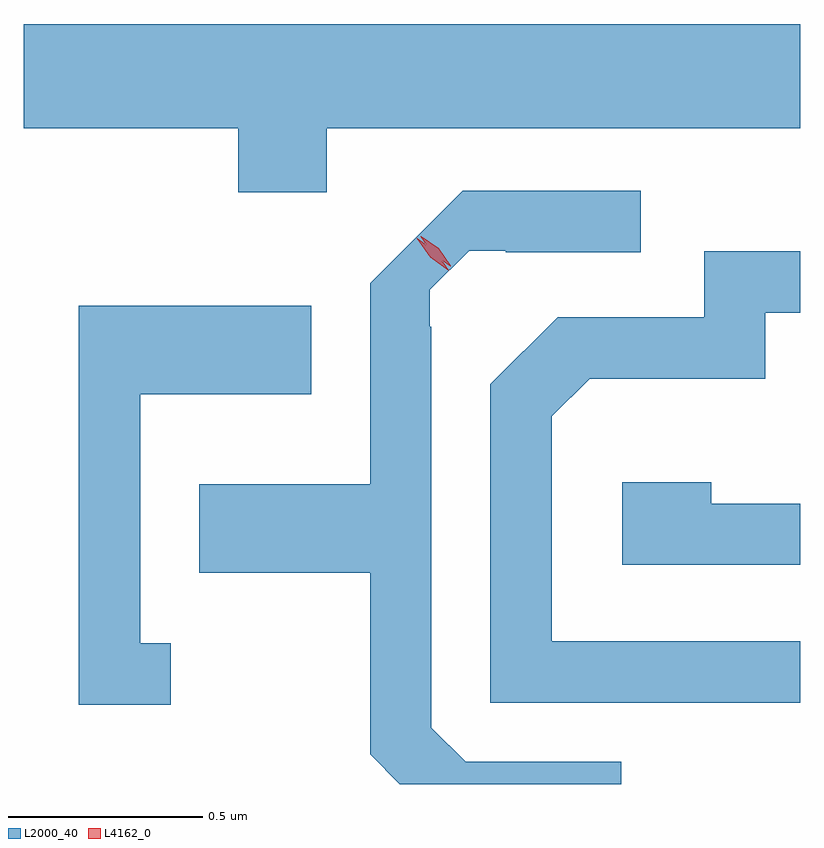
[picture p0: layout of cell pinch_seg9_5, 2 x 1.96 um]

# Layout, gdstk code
import gdstk
lib = gdstk.Library(unit=1e-6, precision=1e-09)
def P(c, l, *ps):  # polygons
    for p in ps: c.add(gdstk.Polygon(p, *l))
L2000_40 = (2000, 40)
L4162_0 = (4162, 0)

pinch_seg9_5 = lib.new_cell('pinch_seg9_5')
P(pinch_seg9_5, L2000_40, [(1840.439,2080.616),(1841.659,2080.616),(1841.659,2080.884),(1839.659,2080.884),(1839.659,2080.616),(1840.211,2080.616),(1840.211,2080.451),(1840.439,2080.451)],
  [(1841.198,2078.984),(1840.797,2078.984),(1840.709,2079.072),(1840.709,2080.105),(1840.705,2080.105),(1840.705,2080.2),(1840.806,2080.3),(1840.9,2080.3),(1840.9,2080.296),(1841.248,2080.296),(1841.248,2080.454),(1840.79,2080.454),(1840.551,2080.216),(1840.551,2079.699),(1840.111,2079.699),(1840.111,2079.471),(1840.551,2079.471),(1840.551,2079.004),(1840.628,2078.927),(1841.198,2078.927)],
  [(1841.659,2079.294),(1841.019,2079.294),(1841.019,2079.874),(1841.117,2079.971),(1841.569,2079.971),(1841.569,2080.141),(1841.659,2080.141),(1841.659,2080.299),(1841.411,2080.299),(1841.411,2080.129),(1841.034,2080.129),(1840.861,2079.957),(1840.861,2079.136),(1841.659,2079.136)],
  [(1840.038,2079.289),(1839.959,2079.289),(1839.959,2079.931),(1840.399,2079.931),(1840.399,2080.159),(1839.801,2080.159),(1839.801,2079.131),(1840.038,2079.131)],
  [(1841.659,2079.649),(1841.429,2079.649),(1841.429,2079.704),(1841.201,2079.704),(1841.201,2079.491),(1841.659,2079.491)])
P(pinch_seg9_5, L4162_0, [(1840.754,2080.249),(1840.706,2080.284),(1840.671,2080.332),(1840.671,2080.332),(1840.672,2080.332),(1840.72,2080.298),(1840.754,2080.25),(1840.754,2080.249)],
  [(1840.758,2080.26),(1840.713,2080.292),(1840.682,2080.336),(1840.682,2080.337),(1840.683,2080.337),(1840.728,2080.306),(1840.759,2080.261),(1840.759,2080.26)])

lib.write_gds('pinch_seg9_5.gds')
